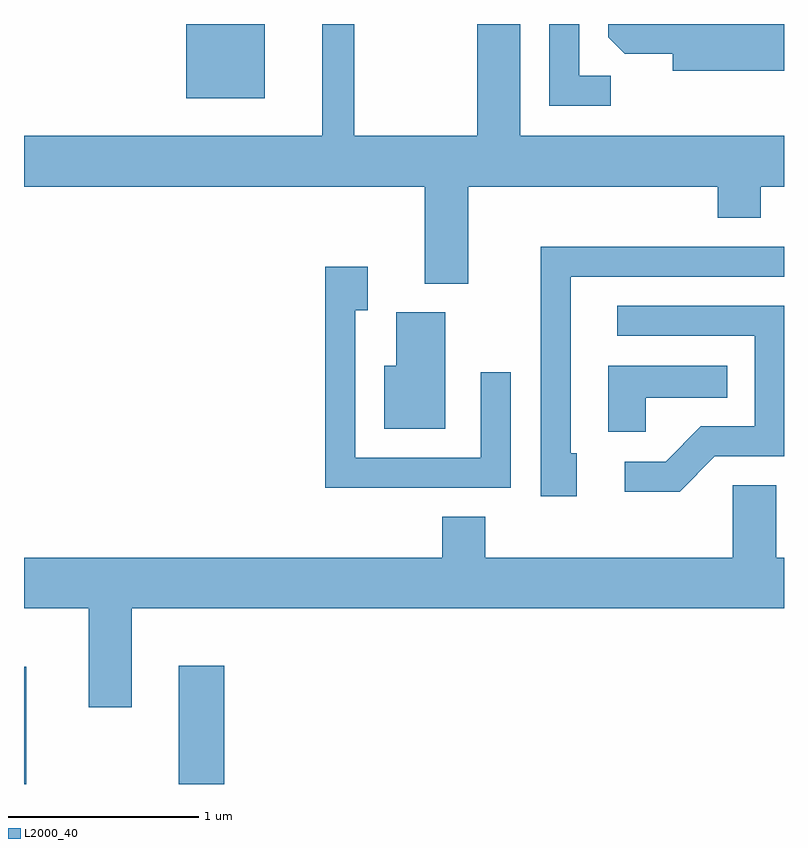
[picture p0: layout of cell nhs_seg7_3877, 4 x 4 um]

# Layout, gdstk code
import gdstk
lib = gdstk.Library(unit=1e-6, precision=1e-09)
def R(c, l, rs):  # rectangles x0, y0, x1, y1
    for r in rs: c.add(gdstk.rectangle(r[:2], r[2:], *l))
def P(c, l, *ps):  # polygons
    for p in ps: c.add(gdstk.Polygon(p, *l))
L2000_40 = (2000, 40)

nhs_seg7_3877 = lib.new_cell('nhs_seg7_3877')
R(nhs_seg7_3877, L2000_40, [(303.611,1742.252,303.624,1742.868), (304.426,1742.252,304.664,1742.874), (304.466,1745.861,304.879,1746.252)])
P(nhs_seg7_3877, L2000_40, [(305.949,1745.396),(307.261,1745.396),(307.261,1745.231),(307.489,1745.231),(307.489,1745.396),(307.611,1745.396),(307.611,1745.664),(306.224,1745.664),(306.224,1746.252),(305.996,1746.252),(305.996,1745.664),(305.349,1745.664),(305.349,1746.252),(305.181,1746.252),(305.181,1745.664),(303.611,1745.664),(303.611,1745.396),(305.721,1745.396),(305.721,1744.886),(305.949,1744.886)],
  [(306.698,1745.979),(306.534,1745.979),(306.534,1746.252),(306.376,1746.252),(306.376,1745.821),(306.698,1745.821)],
  [(307.611,1746.252),(306.686,1746.252),(306.686,1746.182),(306.772,1746.096),(307.026,1746.096),(307.026,1746.006),(307.611,1746.006)],
  [(306.519,1743.994),(306.489,1743.994),(306.489,1744.921),(307.611,1744.921),(307.611,1745.079),(306.331,1745.079),(306.331,1743.766),(306.519,1743.766)],
  [(306.174,1744.418),(306.016,1744.418),(306.016,1743.969),(305.354,1743.969),(305.354,1744.746),(305.419,1744.746),(305.419,1744.974),(305.196,1744.974),(305.196,1743.811),(306.174,1743.811)],
  [(307.247,1743.976),(307.611,1743.976),(307.611,1744.769),(306.733,1744.769),(306.733,1744.611),(307.456,1744.611),(307.456,1744.134),(307.174,1744.134),(306.989,1743.949),(306.773,1743.949),(306.773,1743.791),(307.062,1743.791)],
  [(305.829,1744.734),(305.571,1744.734),(305.571,1744.454),(305.506,1744.454),(305.506,1744.121),(305.829,1744.121)],
  [(306.884,1744.286),(307.313,1744.286),(307.313,1744.454),(306.686,1744.454),(306.686,1744.106),(306.884,1744.106)],
  [(304.179,1743.176),(307.611,1743.176),(307.611,1743.444),(307.569,1743.444),(307.569,1743.824),(307.341,1743.824),(307.341,1743.444),(306.039,1743.444),(306.039,1743.659),(305.811,1743.659),(305.811,1743.444),(303.611,1743.444),(303.611,1743.176),(303.951,1743.176),(303.951,1742.656),(304.179,1742.656)])

lib.write_gds('nhs_seg7_3877.gds')
